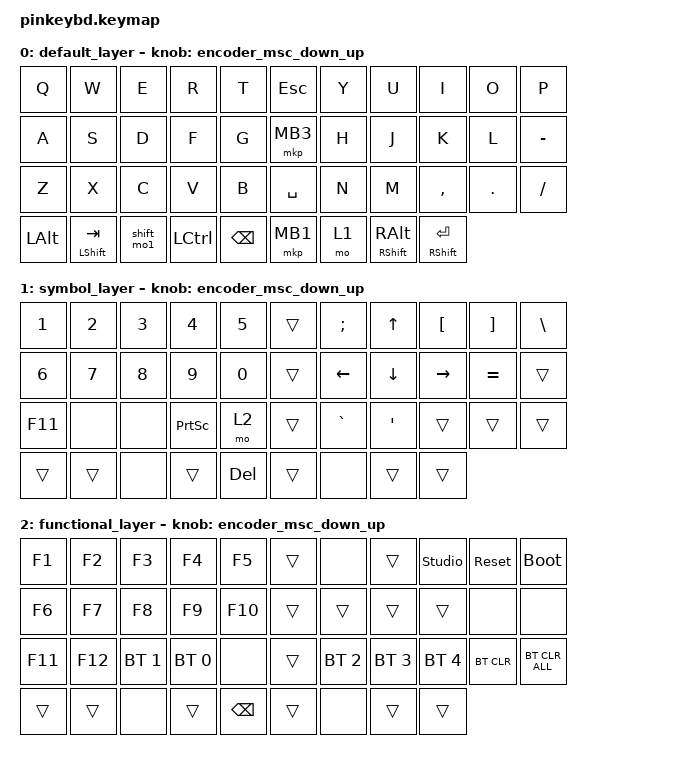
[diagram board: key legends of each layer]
#include <behaviors.dtsi>
#include <dt-bindings/zmk/bt.h>
#include <dt-bindings/zmk/keys.h>
#include <dt-bindings/zmk/pointing.h>

#define ZMK_POINTING_DEFAULT_SCRL_VAL 80

&lt { tapping-term-ms = <140>; };

/ {
    behaviors {
        encoder_msc_down_up: encoder_msc_down_up {
            compatible = "zmk,behavior-sensor-rotate";
            label = "ENCODER_MSC_DOWN_UP";
            #sensor-binding-cells = <0>;
            bindings = <&msc SCRL_DOWN>, <&msc SCRL_UP>;

            tap-ms = <20>;
        };
    };

    macros {
        shift_mo1: shift_mo1 {
            compatible = "zmk,behavior-macro";
            label = "SHIFT_MO1";
            #binding-cells = <0>;
            bindings =
                <&macro_press &mo 1 &kp LSHFT>,
                <&macro_pause_for_release>,
                <&macro_release &mo 1 &kp LSHFT>;
        };
    };

    combos {
        compatible = "zmk,combos";

        combo_mb2 {
            bindings = <&mkp MB2>;
            key-positions = <6 7>;
            timeout-ms = <30>;
        };
    };

    keymap {
        compatible = "zmk,keymap";

        //---------------------------------------------------------------------------
        //|  Q  |  W  |  E  |  R  |  T  | ESC |.|.....|  Y  |  U  |  I  |  O  |  P  |
        //|  A  |  S  |  D  |  F  |  G  | MB3 |.|.....|  H  |  J  |  K  |  L  | -_  |
        //|  Z  |  X  |  C  |  V  |  B  |SPACE|.|BACKS|  N  |  M  | ,<  | .>  | /?  |
        //|L_ALT|.....|.....|S/TAB|S+mo1|L_CTL|.| MB1 |&mo_1|S/ALT|.....|.....|S/ENT|
        //---------------------------------------------------------------------------

        default_layer {
            bindings = <
&kp Q     &kp W          &kp E       &kp R      &kp T     &kp ESC    &kp Y  &kp U           &kp I            &kp O    &kp P
&kp A     &kp S          &kp D       &kp F      &kp G     &mkp MB3   &kp H  &kp J           &kp K            &kp L    &kp MINUS
&kp Z     &kp X          &kp C       &kp V      &kp B     &kp SPACE  &kp N  &kp M           &kp COMMA        &kp DOT  &kp SLASH
&kp LALT  &mt LSHFT TAB  &shift_mo1  &kp LCTRL  &kp BSPC  &mkp MB1   &mo 1  &mt RSHFT RALT  &mt RSHFT ENTER
            >;

            sensor-bindings = <&encoder_msc_down_up>;
        };

        //---------------------------------------------------------------------------
        //| 1!  | 2@  | 3#  | 4$  | 5%  |_____|.|.....| ;:  | UP  | [{  | ]}  |\\\| |
        //| 6^  | 7&  | 8*  | 9(  | 0)  |_____|.|.....|LEFT |DOWN |RIGHT| =+  |_____|
        //| F11 |     |     |PRI_S|&mo_2|_____|.|DELET| `~  | '"  |_____|_____|_____|
        //|_____|.....|.....|_____|&none|_____|.|_____|&none|_____|.....|.....|_____|
        //---------------------------------------------------------------------------

        symbol_layer {
            bindings = <
&kp N1   &kp N2  &kp N3  &kp N4           &kp N5   &trans  &kp SEMI   &kp UP    &kp LBKT   &kp RBKT   &kp BSLH
&kp N6   &kp N7  &kp N8  &kp N9           &kp N0   &trans  &kp LEFT   &kp DOWN  &kp RIGHT  &kp EQUAL  &trans
&kp F11  &none   &none   &kp PRINTSCREEN  &mo 2    &trans  &kp GRAVE  &kp SQT   &trans     &trans     &trans
&trans   &trans  &none   &trans           &kp DEL  &trans  &none      &trans    &trans
            >;

            sensor-bindings = <&encoder_msc_down_up>;
        };

        //---------------------------------------------------------------------------
        //| F1  | F2  | F3  | F4  | F5  |_____|.|.....|     |_____|STUDI|RESET|BOOT |
        //| F6  | F7  | F8  | F9  | F10 |_____|.|.....|_____|_____|_____|     |     |
        //| F11 | F12 | BT1 | BT0 |&none|_____|.|BACKS| BT2 | BT3 | BT4 |BT_C |BT_CA|
        //|_____|.....|.....|_____|&none|_____|.|_____|&none|_____|.....|.....|_____|
        //---------------------------------------------------------------------------

        functional_layer {
            bindings = <
&kp F1   &kp F2   &kp F3        &kp F4        &kp F5    &trans  &none         &trans        &studio_unlock  &sys_reset  &bootloader
&kp F6   &kp F7   &kp F8        &kp F9        &kp F10   &trans  &trans        &trans        &trans          &none       &none
&kp F11  &kp F12  &bt BT_SEL 1  &bt BT_SEL 0  &none     &trans  &bt BT_SEL 2  &bt BT_SEL 3  &bt BT_SEL 4    &bt BT_CLR  &bt BT_CLR_ALL
&trans   &trans   &none         &trans        &kp BSPC  &trans  &none         &trans        &trans
            >;

            sensor-bindings = <&encoder_msc_down_up>;
        };
    };
};
